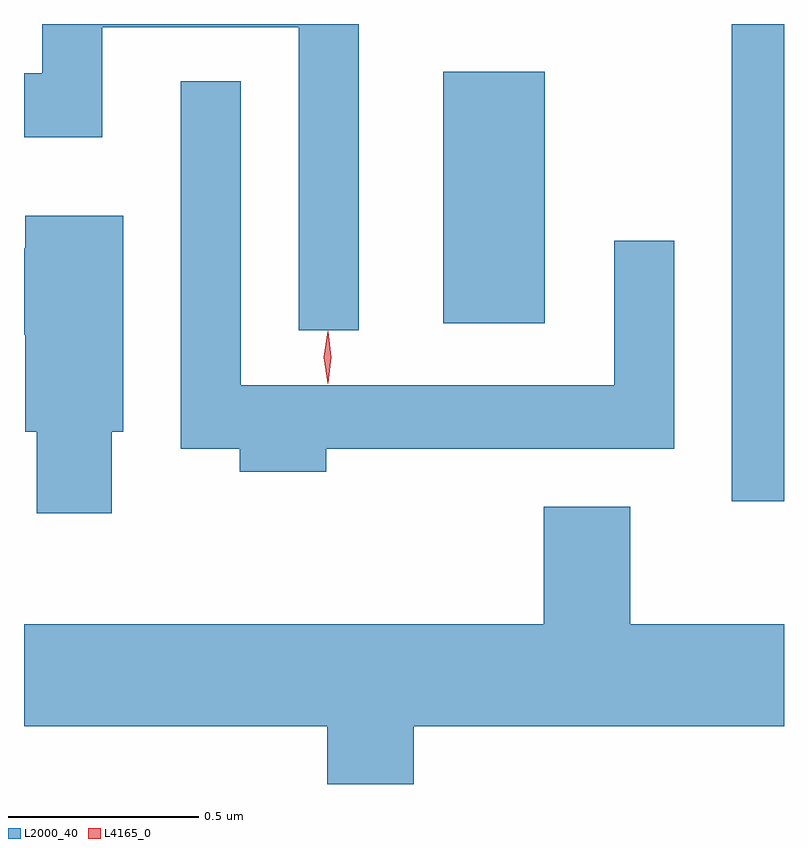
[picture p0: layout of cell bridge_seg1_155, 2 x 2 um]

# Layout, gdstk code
import gdstk
lib = gdstk.Library(unit=1e-6, precision=1e-09)
def R(c, l, rs):  # rectangles x0, y0, x1, y1
    for r in rs: c.add(gdstk.rectangle(r[:2], r[2:], *l))
def P(c, l, *ps):  # polygons
    for p in ps: c.add(gdstk.Polygon(p, *l))
L2000_40 = (2000, 40)
L4165_0 = (4165, 0)

bridge_seg1_155 = lib.new_cell('bridge_seg1_155')
R(bridge_seg1_155, L2000_40, [(846.496,917.928,846.633,919.184), (845.736,918.396,846.004,919.059)])
P(bridge_seg1_155, L2000_40, [(845.514,919.184),(844.681,919.184),(844.681,919.054),(844.633,919.054),(844.633,918.886),(844.839,918.886),(844.839,919.176),(845.356,919.176),(845.356,918.378),(845.514,918.378)],
  [(845.429,918.066),(846.344,918.066),(846.344,918.613),(846.186,918.613),(846.186,918.234),(845.204,918.234),(845.204,919.033),(845.046,919.033),(845.046,918.066),(845.201,918.066),(845.201,918.006),(845.429,918.006)],
  [(844.864,918.111),(844.894,918.111),(844.894,918.679),(844.636,918.679),(844.636,918.594),(844.633,918.594),(844.633,918.366),(844.636,918.366),(844.636,918.111),(844.666,918.111),(844.666,917.896),(844.864,917.896)],
  [(845.659,917.336),(846.633,917.336),(846.633,917.604),(846.229,917.604),(846.229,917.914),(846.001,917.914),(846.001,917.604),(844.633,917.604),(844.633,917.336),(845.431,917.336),(845.431,917.184),(845.659,917.184)])
P(bridge_seg1_155, L4165_0, [(845.432,918.237),(845.432,918.238),(845.422,918.307),(845.432,918.376),(845.432,918.376),(845.433,918.376),(845.442,918.307),(845.433,918.238)])

lib.write_gds('bridge_seg1_155.gds')
